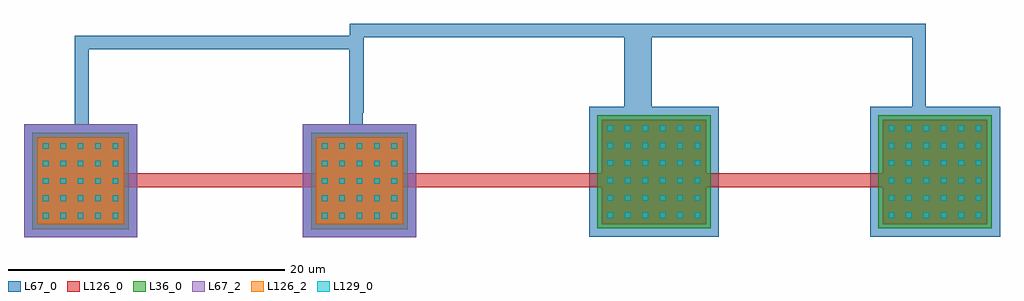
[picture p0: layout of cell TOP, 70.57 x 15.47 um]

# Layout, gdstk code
import gdstk
lib = gdstk.Library(unit=1e-6, precision=1e-09)
def R(c, l, rs):  # rectangles x0, y0, x1, y1
    for r in rs: c.add(gdstk.rectangle(r[:2], r[2:], *l))
def A(c, l, x, y, w, h, nx, ny, dx, dy):  # array of equal rectangles
    R(c, l, [(x+i*dx, y+j*dy, x+i*dx+w, y+j*dy+h) for i in range(nx) for j in range(ny)])
L36_0 = (36, 0)
L67_0 = (67, 0)
L67_2 = (67, 2)
L126_0 = (126, 0)
L126_2 = (126, 2)
L129_0 = (129, 0)

cmim = lib.new_cell('cmim')
R(cmim, L36_0, [(0,0,6.99,6.99)])
R(cmim, L67_0, [(-0.6,-0.6,7.59,7.59)])
R(cmim, L126_0, [(0.34,0.34,6.64,6.64)])
A(cmim, L129_0, 0.76, 0.76, 0.42, 0.42, 5, 5, 1.26, 1.26)

cmim_1 = lib.new_cell('cmim$1')
R(cmim_1, L36_0, [(0,0,8.19,8.19)])
R(cmim_1, L67_0, [(-0.6,-0.6,8.79,8.79)])
R(cmim_1, L126_0, [(0.31,0.31,7.87,7.87)])
A(cmim_1, L129_0, 0.73, 0.73, 0.42, 0.42, 6, 6, 1.26, 1.26)

top = lib.new_cell('TOP')
R(top, L67_2, [(18.45,-0.6,26.64,7.59), (38.62,-0.6,46.81,7.59)])
R(top, L126_2, [(19.39,0.34,25.69,6.64), (39.56,0.345,45.86,6.64)])
top.add(gdstk.FlexPath([(21.987,3.535),(43.69,3.535)], 1, ends="flush", simple_path=True, layer=126, datatype=0))  # L126_0
top.add(gdstk.FlexPath([(62.739,3.535),(84.442,3.535)], 1, ends="flush", simple_path=True, layer=126, datatype=0))  # L126_0
top.add(gdstk.FlexPath([(42.33,3.535),(64.033,3.535)], 1, ends="flush", simple_path=True, layer=126, datatype=0))  # L126_0
top.add(gdstk.FlexPath([(42.453,7.545),(42.453,13.5),(22.62,13.5),(22.62,7.545)], 1, ends="flush", simple_path=True, layer=67, datatype=0))  # L67_0
top.add(gdstk.FlexPath([(83.16,8.415),(83.16,14.37),(63.327,14.37),(63.327,8.415)], 1, ends="flush", simple_path=True, layer=67, datatype=0))  # L67_0
top.add(gdstk.FlexPath([(62.34,8.415),(62.34,14.37),(42.507,14.37),(42.507,8.415)], 1, ends="flush", simple_path=True, layer=67, datatype=0))  # L67_0
top.add(gdstk.Reference(cmim, (19.05,0)))
top.add(gdstk.Reference(cmim, (39.22,0)))
top.add(gdstk.Reference(cmim_1, (59.905,0.06)))
top.add(gdstk.Reference(cmim_1, (80.23,0.06)))

lib.write_gds('TOP.gds')
